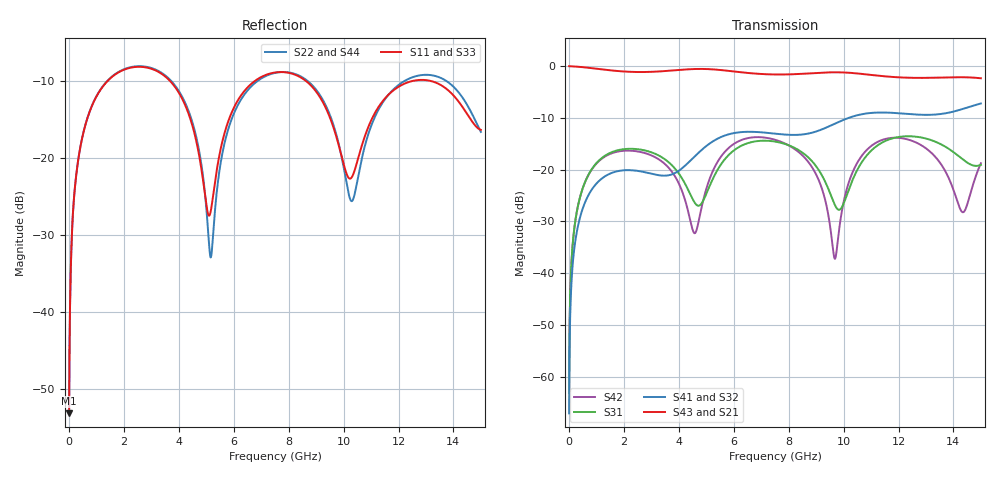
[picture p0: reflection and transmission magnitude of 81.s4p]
! Created with skrf 1.8.0 (http://scikit-rf.org).
# GHz S RI R 50.0
!freq ReS11 ImS11 ReS12 ImS12 ReS13 ImS13
! ReS14 ImS14
! ReS21 ImS21 ReS22 ImS22 ReS23 ImS23
! ReS24 ImS24
! ReS31 ImS31 ReS32 ImS32 ReS33 ImS33
! ReS34 ImS34
! ReS41 ImS41 ReS42 ImS42 ReS43 ImS43
! ReS44 ImS44
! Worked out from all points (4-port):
!   2499 points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, 5 MHz to 15 GHz, reference 50 ohm
!   strongest paths, dB at 5 MHz, 3.476 GHz, 7.19 GHz, 11.1 GHz, 15 GHz:
!     S43: 0.0, -1.0, -1.6, -1.8, -2.3
!     S21: 0.0, -1.0, -1.6, -1.8, -2.4
!     S41: -67.0, -21.2, -12.9, -9.0, -7.2
!     S32: -67.0, -21.3, -13.0, -9.0, -7.2
!     S31: -63.1, -17.9, -14.4, -15.9, -19.1
!     S42: -63.1, -18.8, -13.9, -15.1, -18.8
!   lowest |S11| = -53.2 dB at 5 MHz (marker M1), VSWR 1.00, Z = 50.2 + j0.133 ohm
!   |S11| at or under -10 dB: 3.684 GHz to 6.762 GHz (3.078 GHz wide, 58.9 % of centre); 8.636 GHz to 12.49 GHz (3.854 GHz wide, 36.5 % of centre); 13.19 GHz to end of sweep (the widest 3 of 4)
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0.005  0.00175 0.00133  0.9982 -0.0034  8.84e-05 0.000697  -8.57e-05 -0.000437
       0.9982 -0.0034  0.00175 0.00133  -8.57e-05 -0.000437  8.82e-05 0.000697
       8.84e-05 0.000697  -8.57e-05 -0.000437  0.00175 0.00133  0.9982 -0.0034
       -8.57e-05 -0.000437  8.82e-05 0.000697  0.9982 -0.0034  0.00175 0.00133
0.3126303  0.0268 0.0869  0.9633 -0.2112  0.0129 0.0409  -0.0104 -0.0253
           0.9633 -0.2112  0.0269 0.0869  -0.0104 -0.0253  0.012 0.0411
           0.0129 0.0409  -0.0104 -0.0253  0.0268 0.0869  0.9633 -0.2112
           -0.0104 -0.0253  0.012 0.0411  0.9633 -0.2112  0.0269 0.0869
1.519383  0.2821 0.1739  0.5191 -0.7464  0.1372 0.05  -0.0922 -0.00117
          0.5191 -0.7464  0.2856 0.1714  -0.092 -0.00144  0.1275 0.0642
          0.1372 0.05  -0.092 -0.00144  0.2822 0.1738  0.5192 -0.7463
          -0.0922 -0.00117  0.1275 0.0642  0.5192 -0.7463  0.2855 0.1715
4.952063  0.0443 -0.0371  -0.9224 -0.1679  -0.0415 0.0355  -0.0254 0.1633
          -0.9224 -0.1679  0.0259 -0.0529  -0.0294 0.1626  0.0265 0.0525
          -0.0415 0.0355  -0.0294 0.1626  0.0433 -0.0364  -0.9224 -0.1678
          -0.0254 0.1633  0.0265 0.0525  -0.9224 -0.1678  0.0263 -0.0523
7.884535  0.3595 -0.0293  -0.0321 0.8296  0.1564 -0.0818  0.2078 -0.0663
          -0.0321 0.8296  0.361 -0.0253  0.2073 -0.0574  0.1608 -0.0763
          0.1564 -0.0818  0.2073 -0.0574  0.3609 -0.0317  -0.0328 0.8297
          0.2078 -0.0663  0.1608 -0.0763  -0.0328 0.8297  0.3592 -0.0224
10.63568  0.0967 0.0638  0.8398 -0.06  0.0408 0.1076  -0.053 -0.3376
          0.8398 -0.06  0.0718 0.0609  -0.0361 -0.3397  0.061 0.1183
          0.0408 0.1076  -0.0361 -0.3397  0.0932 0.0673  0.84 -0.0588
          -0.053 -0.3376  0.061 0.1183  0.84 -0.0588  0.0746 0.0593
15  0.1515 -0.017  -0.67 -0.3642  -0.1026 0.0435  -0.1965 0.3888
    -0.67 -0.3642  0.1301 -0.0702  -0.2246 0.375  -0.0444 0.1065
    -0.1026 0.0435  -0.2246 0.375  0.142 -0.0153  -0.6689 -0.3673
    -0.1965 0.3888  -0.0444 0.1065  -0.6689 -0.3673  0.1357 -0.0703
